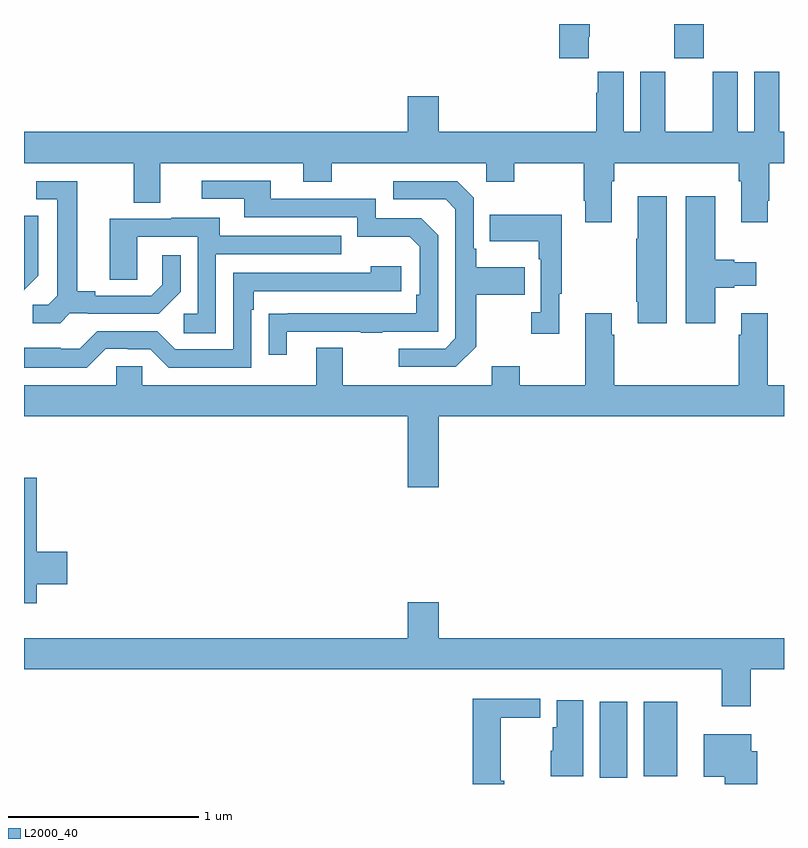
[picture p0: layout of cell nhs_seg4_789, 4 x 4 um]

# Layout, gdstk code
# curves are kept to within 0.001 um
import gdstk
lib = gdstk.Library(unit=1e-6, precision=1e-09)
def R(c, l, rs):  # rectangles x0, y0, x1, y1
    for r in rs: c.add(gdstk.rectangle(r[:2], r[2:], *l))
def P(c, l, *ps):  # polygons
    for p in ps: c.add(gdstk.Polygon(p, *l))
L2000_40 = (2000, 40)

nhs_seg4_789 = lib.new_cell('nhs_seg4_789')
R(nhs_seg4_789, L2000_40, [(154.031,778.932,154.174,779.332), (154.262,778.94,154.438,779.332), (154.423,782.721,154.578,782.9)])
P(nhs_seg4_789, L2000_40, [(153.973,782.833),(153.978,782.833),(153.978,782.9),(153.818,782.9),(153.818,782.721),(153.973,782.721)],
  [(154.093,782.072),(154.106,782.072),(154.106,782.168),(154.763,782.168),(154.763,782.072),(154.775,782.072),(154.775,781.857),(154.915,781.857),(154.915,781.969),(154.923,781.969),(154.923,782.168),(155,782.168),(155,782.332),(154.975,782.332),(154.975,782.65),(154.844,782.65),(154.844,782.332),(154.756,782.332),(154.756,782.65),(154.625,782.65),(154.625,782.332),(154.375,782.332),(154.375,782.65),(154.244,782.65),(154.244,782.332),(154.156,782.332),(154.156,782.65),(154.019,782.65),(154.019,782.537),(154.013,782.537),(154.013,782.332),(153.184,782.332),(153.184,782.521),(153.02,782.521),(153.02,782.332),(151,782.332),(151,782.168),(151.577,782.168),(151.577,781.96),(151.717,781.96),(151.717,782.168),(152.471,782.168),(152.471,782.069),(152.619,782.069),(152.619,782.168),(153.432,782.168),(153.432,782.069),(153.579,782.069),(153.579,782.168),(153.946,782.168),(153.946,781.969),(153.953,781.969),(153.953,781.857),(154.093,781.857)],
  [(152.383,781.281),(152.773,781.281),(152.773,781.276),(152.885,781.276),(152.885,781.281),(153.18,781.281),(153.18,781.788),(153.09,781.878),(152.85,781.878),(152.85,781.98),(152.299,781.98),(152.299,782.076),(151.935,782.076),(151.935,781.98),(152.159,781.98),(152.159,781.884),(152.754,781.884),(152.754,781.781),(153.031,781.781),(153.084,781.728),(153.084,781.474),(153.064,781.474),(153.064,781.377),(152.287,781.376),(152.287,781.158),(152.383,781.158)],
  [(153.379,781.201),(153.379,781.474),(153.635,781.474),(153.635,781.621),(153.379,781.621),(153.379,781.717),(153.366,781.717),(153.366,781.986),(153.279,782.073),(152.943,782.073),(152.943,781.977),(153.219,781.977),(153.27,781.926),(153.27,781.245),(153.216,781.191),(152.973,781.191),(152.973,781.095),(153.273,781.095)],
  [(151.242,781.377),(151.336,781.377),(151.336,781.374),(151.708,781.374),(151.824,781.49),(151.824,781.684),(151.727,781.684),(151.727,781.527),(151.67,781.47),(151.375,781.47),(151.375,781.493),(151.279,781.493),(151.279,782.073),(151.065,782.073),(151.065,781.977),(151.175,781.977),(151.175,781.469),(151.128,781.422),(151.047,781.422),(151.047,781.325),(151.19,781.325)],
  [(154.384,781.993),(154.229,781.993),(154.229,781.769),(154.222,781.769),(154.222,781.438),(154.229,781.438),(154.229,781.326),(154.384,781.326)],
  [(154.639,781.511),(154.739,781.511),(154.739,781.523),(154.855,781.523),(154.855,781.645),(154.739,781.645),(154.739,781.658),(154.639,781.658),(154.639,781.993),(154.484,781.993),(154.484,781.326),(154.639,781.326)],
  [(153.817,781.481),(153.829,781.481),(153.829,781.897),(153.451,781.897),(153.451,781.757),(153.708,781.757),(153.708,781.661),(153.72,781.661),(153.72,781.382),(153.669,781.382),(153.669,781.269),(153.817,781.269)],
  [(151.002,781.5),(151.001,781.501),(151.074,781.574),(151.074,781.892),(151,781.892),(151,781.498)],
  [(152.01,781.689),(152.669,781.689),(152.669,781.785),(152.029,781.785),(152.029,781.879),(151.775,781.879),(151.775,781.875),(151.451,781.875),(151.451,781.555),(151.596,781.555),(151.596,781.779),(151.914,781.779),(151.914,781.374),(151.842,781.374),(151.842,781.273),(152.01,781.273)],
  [(151.431,781.191),(151.547,781.191),(151.547,781.188),(151.665,781.188),(151.761,781.092),(152.196,781.092),(152.196,781.397),(152.209,781.397),(152.209,781.494),(152.986,781.494),(152.986,781.624),(152.825,781.624),(152.825,781.59),(152.1,781.59),(152.1,781.188),(151.797,781.188),(151.701,781.284),(151.386,781.284),(151.293,781.191),(151.193,781.191),(151.193,781.195),(151,781.195),(151,781.091),(151.331,781.091)],
  [(153.184,780.836),(155,780.836),(155,781),(154.915,781),(154.915,781.378),(154.775,781.378),(154.775,781.265),(154.763,781.265),(154.763,781),(154.106,781),(154.106,781.265),(154.093,781.265),(154.093,781.378),(153.953,781.378),(153.953,781),(153.609,781),(153.609,781.099),(153.461,781.099),(153.461,781),(152.677,781),(152.677,781.195),(152.537,781.195),(152.537,781),(151.623,781),(151.623,781.098),(151.485,781.098),(151.485,781),(151,781),(151,780.836),(153.02,780.836),(153.02,780.462),(153.184,780.462)],
  [(151.067,779.951),(151.228,779.951),(151.228,780.122),(151.067,780.122),(151.067,780.511),(151,780.511),(151,779.852),(151.067,779.852)],
  [(154.826,779.504),(155,779.504),(155,779.668),(153.184,779.668),(153.184,779.857),(153.02,779.857),(153.02,779.668),(151,779.668),(151,779.504),(154.673,779.504),(154.673,779.31),(154.826,779.31)],
  [(153.527,778.918),(153.508,778.918),(153.508,779.248),(153.718,779.248),(153.718,779.35),(153.362,779.35),(153.362,778.9),(153.527,778.9)],
  [(153.943,779.341),(153.803,779.341),(153.803,779.199),(153.782,779.199),(153.782,779.076),(153.773,779.076),(153.773,778.94),(153.943,778.94)],
  [(154.859,779.073),(154.828,779.073),(154.828,779.161),(154.577,779.161),(154.577,778.937),(154.688,778.937),(154.688,778.9),(154.859,778.9)])

lib.write_gds('nhs_seg4_789.gds')
